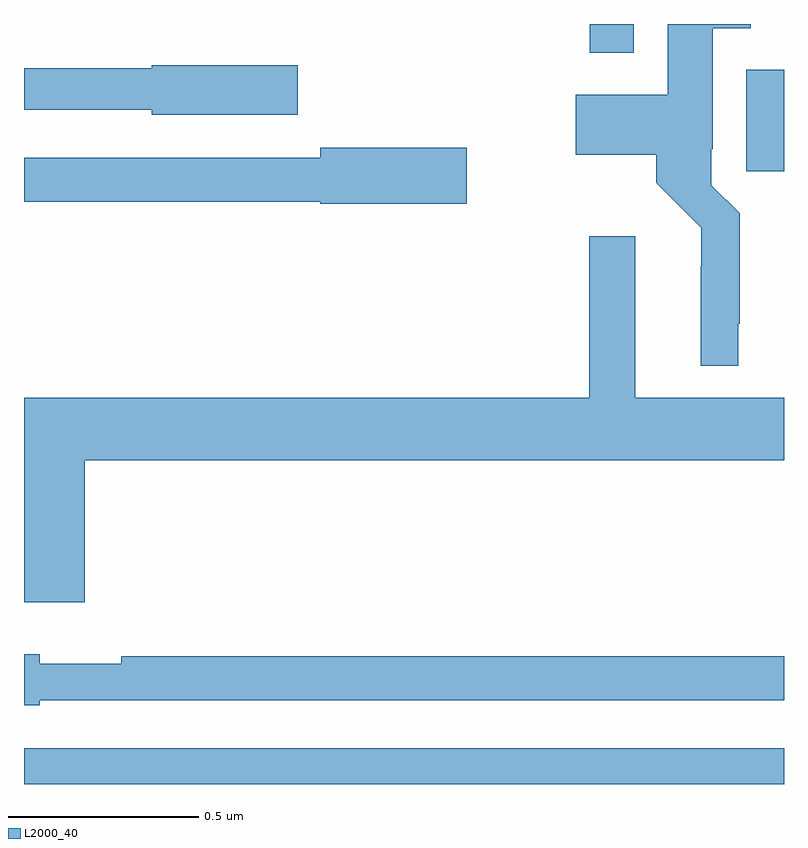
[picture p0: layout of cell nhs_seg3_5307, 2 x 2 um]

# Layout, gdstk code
import gdstk
lib = gdstk.Library(unit=1e-6, precision=1e-09)
def R(c, l, rs):  # rectangles x0, y0, x1, y1
    for r in rs: c.add(gdstk.rectangle(r[:2], r[2:], *l))
def P(c, l, *ps):  # polygons
    for p in ps: c.add(gdstk.Polygon(p, *l))
L2000_40 = (2000, 40)

nhs_seg3_5307 = lib.new_cell('nhs_seg3_5307')
R(nhs_seg3_5307, L2000_40, [(177,697.4,179,697.494), (178.901,699.012,179,699.279), (178.489,699.324,178.605,699.4)])
P(nhs_seg3_5307, L2000_40, [(178.879,698.611),(178.883,698.611),(178.883,698.902),(178.809,698.976),(178.809,699.07),(178.813,699.07),(178.813,699.389),(178.912,699.389),(178.912,699.4),(178.694,699.4),(178.694,699.214),(178.452,699.214),(178.452,699.056),(178.664,699.056),(178.664,698.982),(178.782,698.864),(178.782,698.762),(178.781,698.762),(178.781,698.501),(178.879,698.501)],
  [(177.721,699.291),(177.336,699.291),(177.336,699.283),(177,699.283),(177,699.174),(177.336,699.174),(177.336,699.161),(177.721,699.161)],
  [(178.165,699.074),(177.78,699.074),(177.78,699.048),(177,699.048),(177,698.932),(177.78,698.932),(177.78,698.927),(178.165,698.927)],
  [(177.16,698.252),(179,698.252),(179,698.416),(178.609,698.416),(178.609,698.842),(178.487,698.842),(178.487,698.416),(177,698.416),(177,697.878),(177.16,697.878)],
  [(177.042,697.62),(179,697.62),(179,697.736),(177.256,697.736),(177.256,697.717),(177.042,697.717),(177.042,697.742),(177,697.742),(177,697.607),(177.042,697.607)])

lib.write_gds('nhs_seg3_5307.gds')
